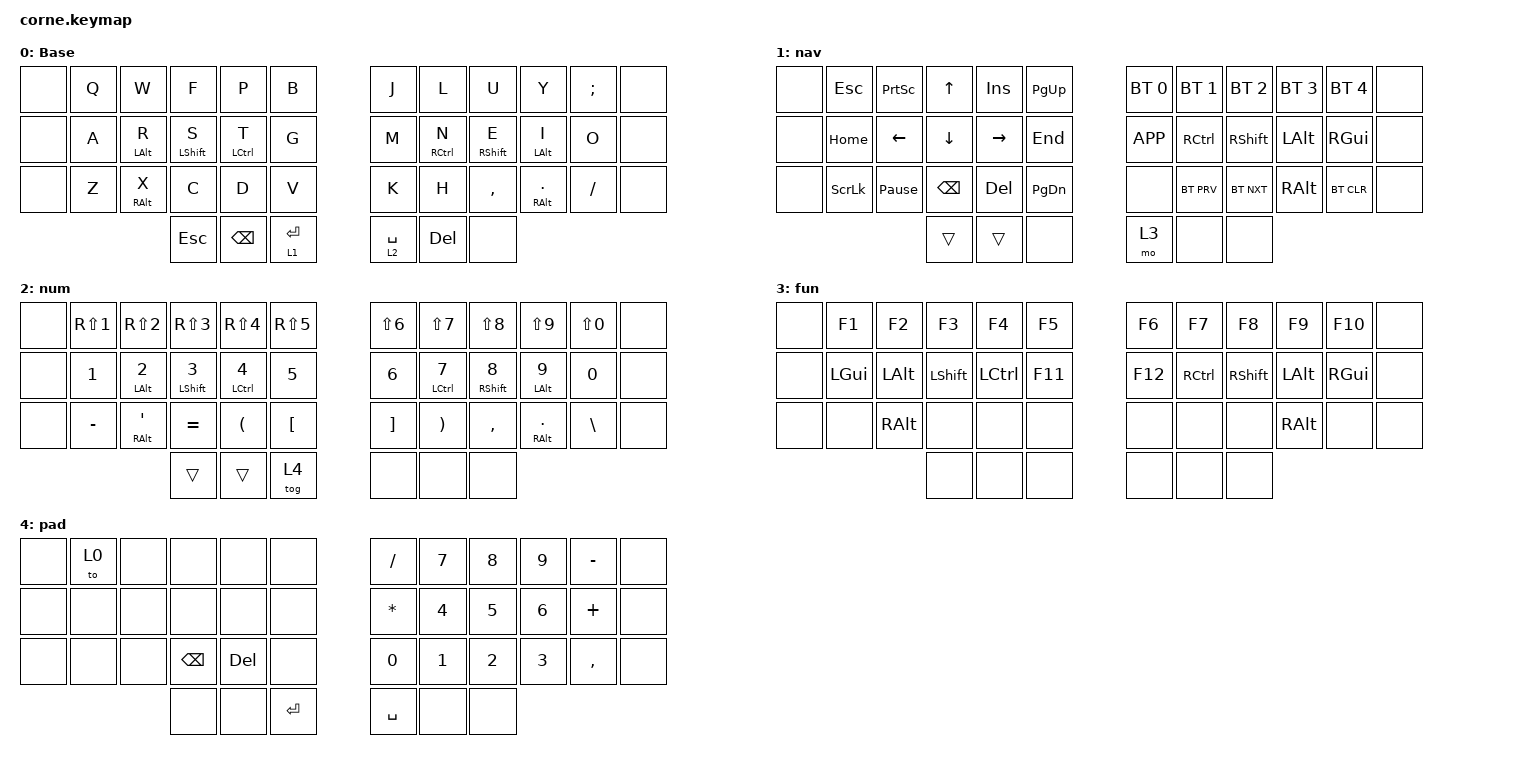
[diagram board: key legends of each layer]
#include <behaviors.dtsi>
#include <dt-bindings/zmk/bt.h>
#include <dt-bindings/zmk/keys.h>

/ {
    behaviors {
        bhm: balanced_homerow_mods {
            compatible = "zmk,behavior-hold-tap";
            label = "HOMEROW_MODS";
            #binding-cells = <2>;
            tapping-term-ms = <190>;
            quick-tap-ms = <0>;
            flavor = "balanced";
            bindings = <&kp>, <&kp>;
        };

        hmls: homerow_mod_lshift {
            compatible = "zmk,behavior-hold-tap";
            label = "HOMEROW_MODS";
            #binding-cells = <2>;
            tapping-term-ms = <190>;
            quick-tap-ms = <0>;
            flavor = "balanced";
            hold-trigger-key-positions = <6 7 8 9 10 11 18 19 20 21 22 23 30 31 32 33 34 35>;
            bindings = <&kp>, <&kp>;
        };

        hmrs: homerow_mod_rshift {
            compatible = "zmk,behavior-hold-tap";
            label = "HOMEROW_MODS";
            #binding-cells = <2>;
            tapping-term-ms = <190>;
            quick-tap-ms = <0>;
            flavor = "balanced";
            hold-trigger-key-positions = <0 1 2 3 4 5 12 13 14 15 16 17 24 25 26 27 28 29>;
            bindings = <&kp>, <&kp>;
        };

        hmla: homerow_mod_altl {
            compatible = "zmk,behavior-hold-tap";
            label = "HOMEROW_MODS";
            #binding-cells = <2>;
            tapping-term-ms = <400>;
            quick-tap-ms = <0>;
            flavor = "balanced";
            bindings = <&kp>, <&kp>;
        };

        hmra: homerow_mod_altr {
            compatible = "zmk,behavior-hold-tap";
            label = "HOMEROW_MODS";
            #binding-cells = <2>;
            tapping-term-ms = <800>;
            quick-tap-ms = <0>;
            flavor = "balanced";
            bindings = <&kp>, <&kp>;
        };
    };
};

/ {
    combos {
        compatible = "zmk,combos";

        Cmb_UmlA {
            bindings = <&kp RA(Q)>;
            key-positions = <1 13>;
            layers = <0>;
        };

        Cmb_UmlO {
            bindings = <&kp RA(P)>;
            key-positions = <10 22>;
            layers = <0>;
        };

        Cmb_UmlU {
            bindings = <&kp RA(Y)>;
            key-positions = <8 20>;
            layers = <0>;
        };

        Cmb_UmlS {
            bindings = <&kp RA(S)>;
            key-positions = <3 15>;
            layers = <0>;
        };

        Cmb_EUR {
            bindings = <&kp RA(N5)>;
            key-positions = <20 32>;
            layers = <0>;
        };

        Cmb_DQT {
            bindings = <&kp DQT>;
            key-positions = <2 14>;
            layers = <2>;
        };

        Cmb_Grave {
            bindings = <&kp GRAVE>;
            key-positions = <14 26>;
            layers = <2>;
        };

        Cmb_LSFT {
            bindings = <&kp LSHFT>;
            key-positions = <15 16>;
            layers = <0 2 3>;
        };

        Cmb_RSFT {
            bindings = <&kp RSHFT>;
            key-positions = <19 20>;
            layers = <0 1 2 3>;
        };

        Cmb_LGUI {
            bindings = <&kp LGUI>;
            key-positions = <13 25>;
            layers = <0 2>;
        };

        Cmb_RGUI {
            bindings = <&kp RGUI>;
            key-positions = <22 34>;
            layers = <0 2>;
        };

        Cmb_ESC {
            bindings = <&kp ESC>;
            key-positions = <1 2>;
            layers = <0 1 2 3 4>;
        };

        Cmb_TAB {
            bindings = <&kp TAB>;
            key-positions = <28 27>;
            layers = <0 1 2 4>;
        };

        Cmb_CLCK {
            bindings = <&kp CLCK>;
            key-positions = <15 16 19 20>;
            layers = <1>;
        };

        Cmb_CLCKs {
            bindings = <&kp CLCK>;
            key-positions = <14 15 16>;
            layers = <1>;
        };

        Cmb_BSPC {
            bindings = <&kp BSPC>;
            key-positions = <31 32>;
            layers = <0 2 4>;
        };

        Cmb_DEL {
            bindings = <&kp DEL>;
            key-positions = <32 33>;
            layers = <0 2 4>;
        };

        Cmb_CtrlBSPC {
            bindings = <&kp LC(BSPC)>;
            key-positions = <31 32 33>;
            layers = <0 2>;
        };

        Cmb_CtrlDEL {
            bindings = <&kp LC(DEL)>;
            key-positions = <32 33 34>;
            layers = <0 2>;
        };

        Cmb_WordLeft {
            bindings = <&kp LC(LEFT)>;
            key-positions = <14 15>;
            layers = <1>;
        };

        Cmb_WordRight {
            bindings = <&kp LC(RIGHT)>;
            key-positions = <15 16>;
            layers = <1>;
        };

        Cmb_Cut {
            bindings = <&kp LC(X)>;
            key-positions = <25 26>;
            layers = <0>;
        };

        Cmb_Copy {
            bindings = <&kp LC(C)>;
            key-positions = <26 27>;
            layers = <0>;
        };

        Cmb_Paste {
            bindings = <&kp LC(V)>;
            key-positions = <27 29>;
            layers = <0>;
        };

        Cmb_Reset {
            bindings = <&bootloader>;
            key-positions = <14 16 15>;
            layers = <4>;
        };
    };

    keymap {
        compatible = "zmk,keymap";

        base {
            label = "Base";
            bindings = <
&none  &kp Q  &kp W         &kp F          &kp P         &kp B        &kp J        &kp L         &kp U          &kp Y           &kp SEMI  &none
&none  &kp A  &hmla LALT R  &hmls LSHFT S  &bhm LCTRL T  &kp G        &kp M        &bhm RCTRL N  &hmrs RSHFT E  &hmla LALT I    &kp O     &none
&none  &kp Z  &hmra RALT X  &kp C          &kp D         &kp V        &kp K        &kp H         &kp COMMA      &hmra RALT DOT  &kp FSLH  &none
                            &kp ESC        &kp BSPC      &lt 1 RET    &lt 2 SPACE  &kp DEL       &none
            >;
        };

        nav {
            label = "nav";
            bindings = <
&none  &kp ESC   &kp PSCRN        &kp UP    &kp INS    &kp PG_UP    &bt BT_SEL 0  &bt BT_SEL 1  &bt BT_SEL 2  &bt BT_SEL 3  &bt BT_SEL 4  &none
&none  &kp HOME  &kp LEFT         &kp DOWN  &kp RIGHT  &kp END      &kp K_APP     &kp RCTRL     &kp RSHFT     &kp LALT      &kp RGUI      &none
&none  &kp SLCK  &kp PAUSE_BREAK  &kp BSPC  &kp DEL    &kp PG_DN    &none         &bt BT_PRV    &bt BT_NXT    &kp RALT      &bt BT_CLR    &none
                                  &trans    &trans     &none        &mo 3         &none         &none
            >;
        };

        num {
            label = "num";
            bindings = <
&none  &kp RS(N1)  &kp RS(N2)      &kp RS(N3)      &kp RS(N4)     &kp RS(N5)    &kp LS(N6)  &kp LS(N7)     &kp LS(N8)      &kp LS(N9)      &kp LS(N0)  &none
&none  &kp N1      &hmla LALT N2   &hmls LSHFT N3  &bhm LCTRL N4  &kp N5        &kp N6      &bhm LCTRL N7  &hmrs RSHFT N8  &hmla LALT N9   &kp N0      &none
&none  &kp MINUS   &hmra RALT SQT  &kp EQUAL       &kp LPAR       &kp LBKT      &kp RBKT    &kp RPAR       &kp COMMA       &hmra RALT DOT  &kp BSLH    &none
                                   &trans          &trans         &tog 4        &none       &none          &none
            >;
        };

        fun {
            label = "fun";
            bindings = <
&none  &kp F1    &kp F2    &kp F3     &kp F4     &kp F5     &kp F6   &kp F7     &kp F8     &kp F9    &kp F10   &none
&none  &kp LGUI  &kp LALT  &kp LSHFT  &kp LCTRL  &kp F11    &kp F12  &kp RCTRL  &kp RSHFT  &kp LALT  &kp RGUI  &none
&none  &none     &kp RALT  &none      &none      &none      &none    &none      &none      &kp RALT  &none     &none
                           &none      &none      &none      &none    &none      &none
            >;
        };

        pad {
            label = "pad";
            bindings = <
&none  &to 0  &none  &none     &none    &none      &kp FSLH   &kp N7  &kp N8  &kp N9  &kp MINUS  &none
&none  &none  &none  &none     &none    &none      &kp STAR   &kp N4  &kp N5  &kp N6  &kp PLUS   &none
&none  &none  &none  &kp BSPC  &kp DEL  &none      &kp N0     &kp N1  &kp N2  &kp N3  &kp COMMA  &none
                     &none     &none    &kp RET    &kp SPACE  &none   &none
            >;
        };
    };
};

&nice_view_spi { cs-gpios = <&pro_micro 0 GPIO_ACTIVE_HIGH>; };
